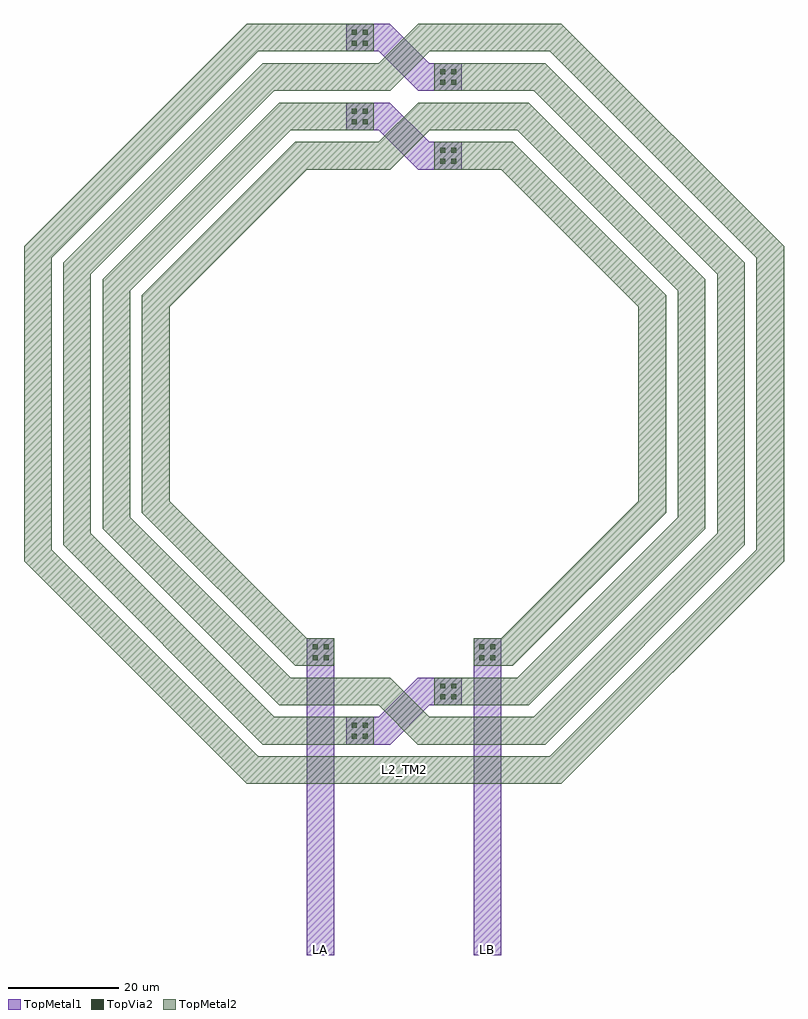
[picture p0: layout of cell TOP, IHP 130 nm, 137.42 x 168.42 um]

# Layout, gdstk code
import gdstk
lib = gdstk.Library(unit=1e-6, precision=1e-09)
def R(c, l, rs):  # rectangles x0, y0, x1, y1
    for r in rs: c.add(gdstk.rectangle(r[:2], r[2:], *l))
def P(c, l, *ps):  # polygons
    for p in ps: c.add(gdstk.Polygon(p, *l))
TopMetal1 = (126, 0)
TopVia2 = (133, 0)
TopMetal2 = (134, 0)

top = lib.new_cell('TOP')
P(top, TopMetal1, [(2.535,141.06),(-4.585,148.18),(-10.475,148.18),(-10.475,153.18),(-2.535,153.18),(4.585,146.06),(10.475,146.06),(10.475,141.06)],
  [(2.535,155.3),(-4.585,162.42),(-10.475,162.42),(-10.475,167.42),(-2.535,167.42),(4.585,160.3),(10.475,160.3),(10.475,155.3)],
  [(-10.475,37.1),(-10.475,42.1),(-4.595,42.1),(2.505,49.2),(10.485,49.2),(10.485,44.2),(4.585,44.2),(-2.515,37.1)])
R(top, TopVia2, [(-9.405,38.17,-8.505,39.07), (-7.445,38.17,-6.545,39.07), (-9.405,40.13,-8.505,41.03), (-7.445,40.13,-6.545,41.03), (6.555,45.27,7.455,46.17), (8.515,45.27,9.415,46.17), (6.555,47.23,7.455,48.13), (8.515,47.23,9.415,48.13), (-16.505,52.37,-15.605,53.27), (-14.545,52.37,-13.645,53.27), (13.645,52.37,14.545,53.27), (15.605,52.37,16.505,53.27), (-16.505,54.33,-15.605,55.23), (-14.545,54.33,-13.645,55.23), (13.645,54.33,14.545,55.23), (15.605,54.33,16.505,55.23), (6.545,142.13,7.445,143.03), (8.505,142.13,9.405,143.03), (6.545,144.09,7.445,144.99), (8.505,144.09,9.405,144.99), (-9.405,149.23,-8.505,150.13), (-7.445,149.23,-6.545,150.13), (-9.405,151.19,-8.505,152.09), (-7.445,151.19,-6.545,152.09), (6.545,156.37,7.445,157.27), (8.505,156.37,9.405,157.27), (6.545,158.33,7.445,159.23), (8.505,158.33,9.405,159.23), (-9.405,163.47,-8.505,164.37), (-7.445,163.47,-6.545,164.37), (-9.405,165.43,-8.505,166.33), (-7.445,165.43,-6.545,166.33)])
R(top, TopMetal2, [(-5.475,30,5.475,35)])
P(top, TopMetal2, [(12.575,51.3),(12.575,56.3),(17.55,56.3),(42.38,81.13),(42.38,116.23),(17.55,141.06),(5.475,141.06),(5.475,146.06),(19.63,146.06),(47.38,118.31),(47.38,79.05),(19.63,51.3)],
  [(-19.63,51.3),(-47.38,79.05),(-47.38,118.31),(-19.63,146.06),(-5.475,146.06),(-5.475,141.06),(-17.55,141.06),(-42.38,116.23),(-42.38,81.13),(-17.55,56.3),(-12.575,56.3),(-12.575,51.3)],
  [(-5.475,141.06),(-5.475,146.06),(-4.585,146.06),(2.535,153.18),(5.475,153.18),(5.475,148.18),(4.615,148.18),(-2.505,141.06)],
  [(5.475,44.2),(5.475,49.2),(20.495,49.2),(49.49,78.195),(49.49,119.185),(20.495,148.18),(5.475,148.18),(5.475,153.18),(22.575,153.18),(54.49,121.265),(54.49,76.115),(22.575,44.2)],
  [(-22.575,44.2),(-54.49,76.115),(-54.49,121.265),(-22.575,153.18),(-5.475,153.18),(-5.475,148.18),(-20.495,148.18),(-49.49,119.185),(-49.49,78.195),(-20.495,49.2),(-5.475,49.2),(-5.475,44.2)],
  [(5.475,37.1),(5.475,42.1),(23.44,42.1),(56.6,75.26),(56.6,122.14),(23.44,155.3),(5.475,155.3),(5.475,160.3),(25.52,160.3),(61.6,124.22),(61.6,73.18),(25.52,37.1)],
  [(-25.52,37.1),(-61.6,73.18),(-61.6,124.22),(-25.52,160.3),(-5.475,160.3),(-5.475,155.3),(-23.44,155.3),(-56.6,122.14),(-56.6,75.26),(-23.44,42.1),(-5.475,42.1),(-5.475,37.1)],
  [(-5.475,155.3),(-5.475,160.3),(-4.585,160.3),(2.535,167.42),(5.475,167.42),(5.475,162.42),(4.615,162.42),(-2.505,155.3)],
  [(2.515,37.1),(-4.585,44.2),(-5.475,44.2),(-5.475,49.2),(-2.505,49.2),(4.595,42.1),(5.475,42.1),(5.475,37.1)],
  [(5.475,30),(5.475,35),(26.385,35),(63.71,72.325),(63.71,125.095),(26.385,162.42),(5.475,162.42),(5.475,167.42),(28.465,167.42),(68.71,127.175),(68.71,70.245),(28.465,30)],
  [(-28.465,30),(-68.71,70.245),(-68.71,127.175),(-28.465,167.42),(-5.475,167.42),(-5.475,162.42),(-26.385,162.42),(-63.71,125.095),(-63.71,72.325),(-26.385,35),(-5.475,35),(-5.475,30)])
top.add(gdstk.FlexPath([(15.075,-1),(15.075,56.3)], 5, ends="flush", simple_path=True, layer=126, datatype=0))  # TopMetal1
top.add(gdstk.FlexPath([(-15.075,-1),(-15.075,56.3)], 5, ends="flush", simple_path=True, layer=126, datatype=0))  # TopMetal1
top.add(gdstk.Label('L2_TM2', (0,32.5), layer=63, texttype=0))
top.add(gdstk.Label('LB', (15.075,0), layer=63, texttype=0))
top.add(gdstk.Label('LA', (-15.075,0), layer=63, texttype=0))

lib.write_gds('TOP.gds')
